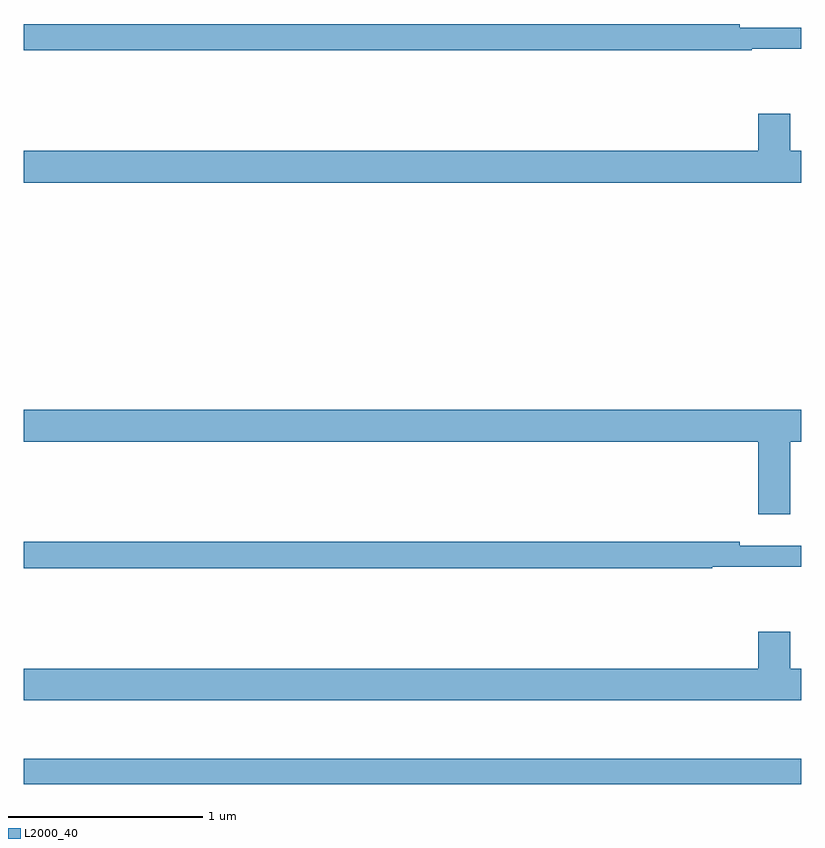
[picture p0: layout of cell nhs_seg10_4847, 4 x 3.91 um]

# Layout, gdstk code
import gdstk
lib = gdstk.Library(unit=1e-6, precision=1e-09)
def R(c, l, rs):  # rectangles x0, y0, x1, y1
    for r in rs: c.add(gdstk.rectangle(r[:2], r[2:], *l))
def P(c, l, *ps):  # polygons
    for p in ps: c.add(gdstk.Polygon(p, *l))
L2000_40 = (2000, 40)

nhs_seg10_4847 = lib.new_cell('nhs_seg10_4847')
R(nhs_seg10_4847, L2000_40, [(389,1322.53,393,1322.659)])
P(nhs_seg10_4847, L2000_40, [(392.745,1326.312),(393,1326.312),(393,1326.421),(392.684,1326.421),(392.684,1326.44),(389,1326.44),(389,1326.304),(392.745,1326.304)],
  [(393,1325.788),(392.944,1325.788),(392.944,1325.977),(392.78,1325.977),(392.78,1325.788),(389,1325.788),(389,1325.624),(393,1325.624)],
  [(392.944,1324.292),(393,1324.292),(393,1324.456),(389,1324.456),(389,1324.292),(392.78,1324.292),(392.78,1323.918),(392.944,1323.918)],
  [(392.542,1323.648),(393,1323.648),(393,1323.757),(392.684,1323.757),(392.684,1323.776),(389,1323.776),(389,1323.64),(392.542,1323.64)],
  [(393,1323.124),(392.944,1323.124),(392.944,1323.313),(392.78,1323.313),(392.78,1323.124),(389,1323.124),(389,1322.96),(393,1322.96)])

lib.write_gds('nhs_seg10_4847.gds')
